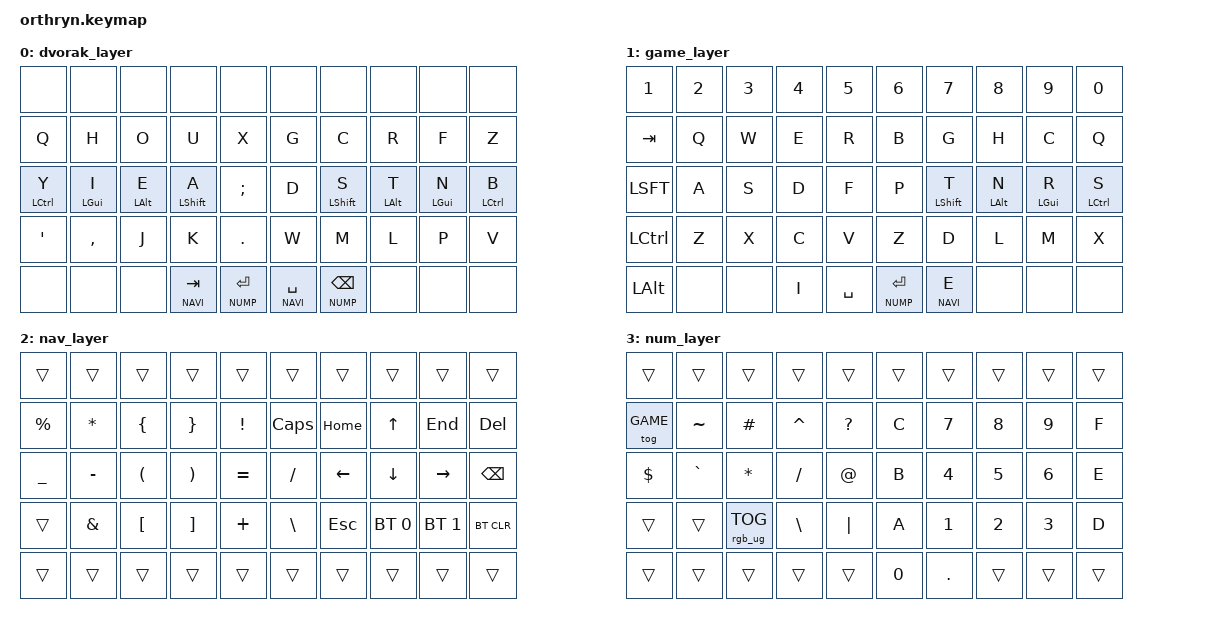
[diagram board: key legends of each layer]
/*
 * Copyright (c) 2020 The ZMK Contributors
 *
 * SPDX-License-Identifier: MIT
 */

#include <behaviors.dtsi>
#include <dt-bindings/zmk/keys.h>
#include <dt-bindings/zmk/bt.h>
#include <dt-bindings/zmk/rgb.h>

#define BASE     0 /* (HANDS DOWN LAYER) */
#define GAME     1 /* (GAME LAYER) */
#define NAVI     2 /* (NAVIGATION LAYER) */
#define NUMP     3 /* (NUMPAD LAYER) */
#define SYM1     4 /* (SYMBOL LAYER 1) */
#define SYM2     5 /* (SYMBOL LAYER 2) */

/* There are 7 layers, including the base layer */
/* Base: Hands Down */
/* Navigation:  */
/* Mouse: Not yet available in ZMK? */
/* Media:  */
/* Numerals:  */
/* Symbols:  */
/* Function and Systems: */

&lt {
        flavor = "hold-preferred";
};

/ {
        behaviors {
                hm: homerow_mods {
                compatible = "zmk,behavior-hold-tap";
                label = "HOMEROW_MODS";
                #binding-cells = <2>;
                tapping_term_ms = <200>;
                flavor = "tap-preferred";
                bindings = <&kp>, <&kp>;
                };
        };

        keymap {
                compatible = "zmk,keymap";

                dvorak_layer {
// -----------------------------------------------------------------------------------------
// |  ;  |  ,  |  .  |  P  |  Y  |   |  F  |  G  |  C  |  R  |  L  |
// |  A  |  O  |  E  |  U  |  I  |   |  D  |  H  |  T  |  N  |  S  |
// |  '  |  Q  |  J  |  K  |  X  |   |  B  |  M  |  W  |  V  |  Z  |
//             |     | TAB | ENT |   | BSPC| SPC |     |
                        bindings = <
        &none       &none      &none      &none        &none         &none          &none          &none      &none      &none
        &kp Q       &kp H      &kp O      &kp U        &kp X         &kp G          &kp C          &kp R      &kp F      &kp Z
        &hm LCTRL Y &hm LGUI I &hm LALT E &hm LSHFT A  &kp SEMI      &kp D          &hm LSHFT S    &hm LALT T &hm LGUI N &hm LCTRL B
        &kp APOS    &kp COMMA  &kp J      &kp K        &kp DOT       &kp W          &kp M          &kp L      &kp P      &kp V
        &none       &none      &none      &lt NAVI TAB &lt NUMP RET  &lt NAVI SPACE &lt NUMP BSPC  &none      &none      &none
                            >;
                };

                game_layer {
// -----------------------------------------------------------------------------------------
// | TAB |  Q  |  W  |  E  |  R  |   |  B  |  G  |  H  |  C  |  Q  |
// | SHFT|  A  |  S  |  D  |  F  |   |  P  |  T  |  N  |  R  |  S  |
// | CTRL|  Z  |  X  |  C  |  V  |   |  Z  |  D  |  L  |  M  |  X  |
//             |     |  I  | SPC |   | RET |  E  |     |
                        bindings = <
   &kp N1     &kp N2 &kp N3 &kp N4 &kp N5     &kp N6        &kp N7      &kp N8     &kp N9     &kp N0
   &kp TAB    &kp Q  &kp W  &kp E  &kp R      &kp B         &kp G       &kp H      &kp C      &kp Q
   &kp LSFT   &kp A  &kp S  &kp D  &kp F      &kp P         &hm LSHFT T &hm LALT N &hm LGUI R &hm LCTRL S
   &kp LCTRL  &kp Z  &kp X  &kp C  &kp V      &kp Z         &kp D       &kp L      &kp M      &kp X
   &kp LALT   &none  &none  &kp I  &kp SPACE  &lt NUMP RET  &lt NAVI E  &none      &none      &none
                        >;
                };

                nav_layer {
// -----------------------------------------------------------------------------------------
// |  %  |  *  |  {  |  }  |  !  |   | CAPS| HOME |  UP  | END  | DEL  |
// |  _  |  -  |  (  |  )  |  =  |   |  /  | LEFT | DOWN | RGT  | BKSP |
// |     |  &  |  [  |  ]  |  +  |   |  \  | ESC  | BT_1 | BT_2 | BCLR |
//             |     |     |     |   |     |      |      |
                        bindings = <
   &trans    &trans    &trans   &trans   &trans        &trans   &trans   &trans       &trans       &trans
   &kp PRCNT &kp STAR  &kp LBRC &kp RBRC &kp EXCL      &kp CAPS &kp HOME &kp UP       &kp END      &kp DEL
   &kp UNDER &kp MINUS &kp LPAR &kp RPAR &kp EQUAL     &kp FSLH &kp LEFT &kp DOWN     &kp RIGHT    &kp BSPC
   &trans    &kp AMPS  &kp LBKT &kp RBKT &kp PLUS      &kp BSLH &kp ESC  &bt BT_SEL 0 &bt BT_SEL 1 &bt BT_CLR
   &trans    &trans    &trans   &trans   &trans        &trans   &trans   &trans       &trans       &trans
                        >;
                };

                num_layer {
// -----------------------------------------------------------------------------------------
// | GME |  ~  |  #  |  ^  |  ?  |   |  C  |  7  |  8  |  9  |  F  |
// |  $  |  `  |  *  |  /  |  @  |   |  B  |  4  |  5  |  6  |  E  |
// |     |     |     |  \  | "|" |   |  A  |  1  |  2  |  3  |  D  |
//             |     |     |     |   |  0  |  .  |     |
                        bindings = <
   &trans    &trans    &trans          &trans    &trans      &trans &trans  &trans &trans &trans
   &tog GAME &kp TILDE &kp HASH        &kp CARET &kp QMARK   &kp C  &kp N7  &kp N8 &kp N9 &kp F
   &kp DLLR  &kp GRAVE &kp STAR        &kp FSLH  &kp AT      &kp B  &kp N4  &kp N5 &kp N6 &kp E
   &trans    &trans    &rgb_ug RGB_TOG &kp BSLH  &kp PIPE    &kp A  &kp N1  &kp N2 &kp N3 &kp D
   &trans    &trans    &trans          &trans    &trans      &kp N0 &kp DOT &trans &trans &trans
                        >;
                };
        };
};
